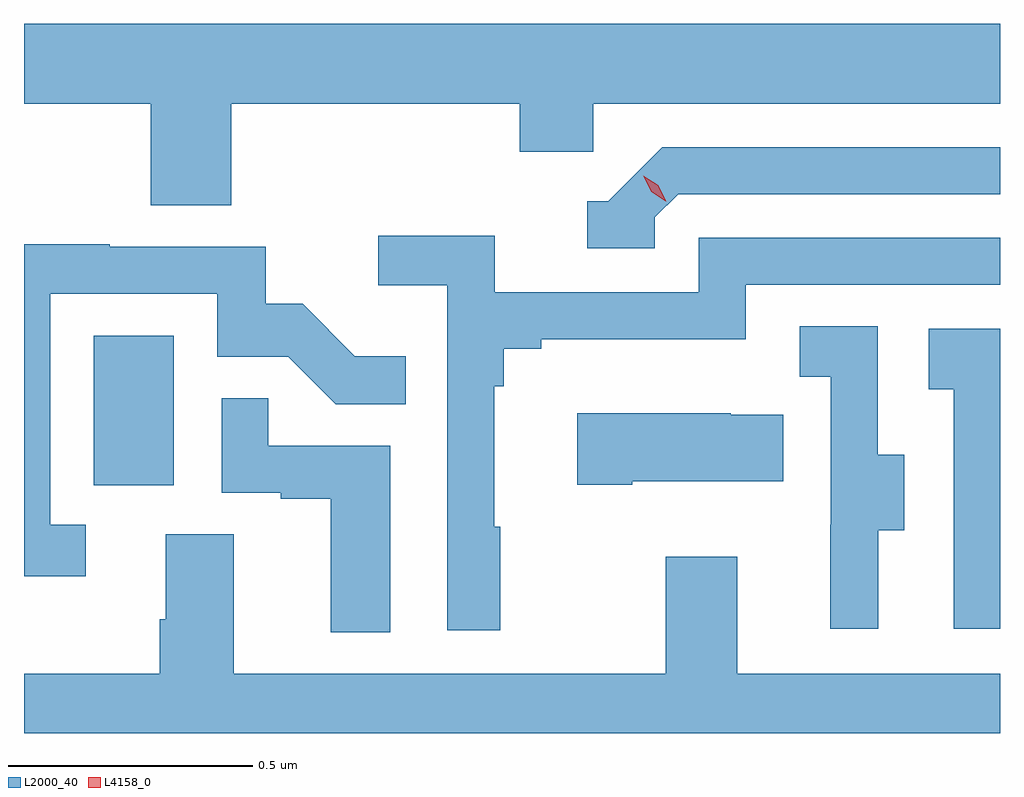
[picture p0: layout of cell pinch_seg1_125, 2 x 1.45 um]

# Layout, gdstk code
import gdstk
lib = gdstk.Library(unit=1e-6, precision=1e-09)
def R(c, l, rs):  # rectangles x0, y0, x1, y1
    for r in rs: c.add(gdstk.rectangle(r[:2], r[2:], *l))
def P(c, l, *ps):  # polygons
    for p in ps: c.add(gdstk.Polygon(p, *l))
L2000_40 = (2000, 40)
L4158_0 = (4158, 0)

pinch_seg1_125 = lib.new_cell('pinch_seg1_125')
R(pinch_seg1_125, L2000_40, [(1071.746,550.95,1071.91,551.257)])
P(pinch_seg1_125, L2000_40, [(1072.028,551.732),(1072.619,551.732),(1072.619,551.634),(1072.77,551.634),(1072.77,551.732),(1073.603,551.732),(1073.603,551.896),(1071.603,551.896),(1071.603,551.732),(1071.863,551.732),(1071.863,551.524),(1072.028,551.524)],
  [(1072.896,551.499),(1072.944,551.547),(1073.603,551.547),(1073.603,551.643),(1072.911,551.643),(1072.8,551.532),(1072.757,551.532),(1072.757,551.436),(1072.896,551.436)],
  [(1072.579,550.865),(1072.567,550.865),(1072.567,551.153),(1072.586,551.153),(1072.586,551.23),(1072.663,551.23),(1072.663,551.249),(1073.082,551.249),(1073.082,551.361),(1073.603,551.361),(1073.603,551.457),(1072.986,551.457),(1072.986,551.346),(1072.568,551.346),(1072.568,551.462),(1072.329,551.462),(1072.329,551.36),(1072.47,551.36),(1072.47,550.653),(1072.579,550.653)],
  [(1071.73,550.869),(1071.657,550.869),(1071.657,551.343),(1071.999,551.343),(1071.999,551.214),(1072.144,551.214),(1072.242,551.116),(1072.385,551.116),(1072.385,551.215),(1072.281,551.215),(1072.174,551.322),(1072.098,551.322),(1072.098,551.439),(1071.779,551.439),(1071.779,551.444),(1071.603,551.444),(1071.603,550.764),(1071.73,550.764)],
  [(1073.353,550.858),(1073.407,550.858),(1073.407,551.013),(1073.352,551.013),(1073.352,551.276),(1073.193,551.276),(1073.193,551.173),(1073.256,551.173),(1073.256,550.869),(1073.255,550.869),(1073.255,550.656),(1073.353,550.656)],
  [(1073.603,551.271),(1073.457,551.271),(1073.457,551.147),(1073.508,551.147),(1073.508,550.656),(1073.603,550.656)],
  [(1072.354,551.031),(1072.103,551.031),(1072.103,551.129),(1072.008,551.129),(1072.008,550.935),(1072.129,550.935),(1072.129,550.923),(1072.232,550.923),(1072.232,550.649),(1072.354,550.649)],
  [(1072.849,550.958),(1073.159,550.958),(1073.159,551.095),(1073.051,551.095),(1073.051,551.098),(1072.737,551.098),(1072.737,550.951),(1072.849,550.951)],
  [(1073.603,550.564),(1073.065,550.564),(1073.065,550.804),(1072.918,550.804),(1072.918,550.564),(1072.033,550.564),(1072.033,550.85),(1071.893,550.85),(1071.893,550.676),(1071.881,550.676),(1071.881,550.564),(1071.603,550.564),(1071.603,550.442),(1073.603,550.442)])
P(pinch_seg1_125, L4158_0, [(1072.918,551.532),(1072.888,551.552),(1072.872,551.584),(1072.872,551.584),(1072.872,551.584),(1072.903,551.565),(1072.919,551.532),(1072.919,551.532)])

lib.write_gds('pinch_seg1_125.gds')
